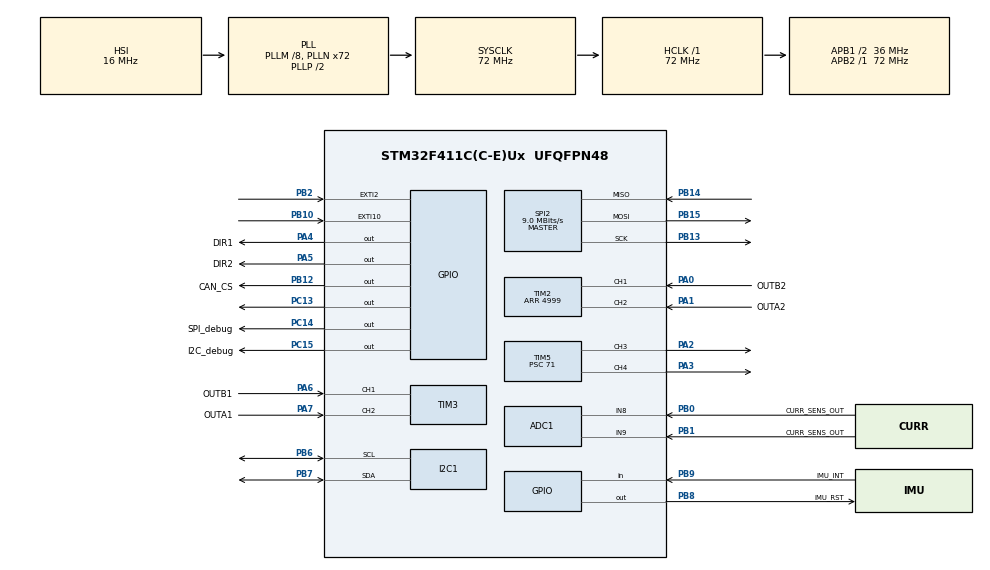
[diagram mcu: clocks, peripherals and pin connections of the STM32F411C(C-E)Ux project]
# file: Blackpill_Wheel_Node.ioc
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ADC1.Channel-0\#ChannelRegularConversion=ADC_CHANNEL_8
ADC1.Channel-1\#ChannelRegularConversion=ADC_CHANNEL_9
ADC1.ContinuousConvMode=ENABLE
ADC1.DMAContinuousRequests=ENABLE
ADC1.DiscontinuousConvMode=DISABLE
ADC1.NbrOfConversion=2
ADC1.NbrOfConversionFlag=1
ADC1.Rank-0\#ChannelRegularConversion=1
ADC1.Rank-1\#ChannelRegularConversion=2
ADC1.SamplingTime-0\#ChannelRegularConversion=ADC_SAMPLETIME_3CYCLES
ADC1.SamplingTime-1\#ChannelRegularConversion=ADC_SAMPLETIME_3CYCLES
ADC1.ScanConvMode=ENABLE
ADC1.master=1
Dma.ADC1.2.Direction=DMA_PERIPH_TO_MEMORY
Dma.ADC1.2.FIFOMode=DMA_FIFOMODE_DISABLE
Dma.ADC1.2.Instance=DMA2_Stream0
Dma.ADC1.2.MemDataAlignment=DMA_MDATAALIGN_HALFWORD
Dma.ADC1.2.MemInc=DMA_MINC_ENABLE
Dma.ADC1.2.Mode=DMA_CIRCULAR
Dma.ADC1.2.PeriphDataAlignment=DMA_PDATAALIGN_HALFWORD
Dma.ADC1.2.PeriphInc=DMA_PINC_DISABLE
Dma.ADC1.2.Priority=DMA_PRIORITY_LOW
Dma.I2C1_RX.0.Direction=DMA_PERIPH_TO_MEMORY
Dma.I2C1_RX.0.FIFOMode=DMA_FIFOMODE_DISABLE
Dma.I2C1_RX.0.Instance=DMA1_Stream0
Dma.I2C1_RX.0.MemDataAlignment=DMA_MDATAALIGN_BYTE
Dma.I2C1_RX.0.MemInc=DMA_MINC_ENABLE
Dma.I2C1_RX.0.Mode=DMA_NORMAL
Dma.I2C1_RX.0.PeriphDataAlignment=DMA_PDATAALIGN_BYTE
Dma.I2C1_RX.0.PeriphInc=DMA_PINC_DISABLE
Dma.I2C1_RX.0.Priority=DMA_PRIORITY_LOW
Dma.I2C1_TX.1.Direction=DMA_MEMORY_TO_PERIPH
Dma.I2C1_TX.1.FIFOMode=DMA_FIFOMODE_DISABLE
Dma.I2C1_TX.1.Instance=DMA1_Stream1
Dma.I2C1_TX.1.MemDataAlignment=DMA_MDATAALIGN_BYTE
Dma.I2C1_TX.1.MemInc=DMA_MINC_ENABLE
Dma.I2C1_TX.1.Mode=DMA_NORMAL
Dma.I2C1_TX.1.PeriphDataAlignment=DMA_PDATAALIGN_BYTE
Dma.I2C1_TX.1.PeriphInc=DMA_PINC_DISABLE
Dma.I2C1_TX.1.Priority=DMA_PRIORITY_LOW
Dma.Request0=I2C1_RX
Dma.Request1=I2C1_TX
Dma.Request2=ADC1
Mcu.Family=STM32F4
Mcu.Name=STM32F411C(C-E)Ux
Mcu.Package=UFQFPN48
NVIC.DMA1_Stream0_IRQn=true\:0\:0\:false\:false\:true\:false\:true\:true
NVIC.DMA1_Stream1_IRQn=true\:0\:0\:false\:false\:true\:false\:true\:true
NVIC.DMA2_Stream0_IRQn=true\:0\:0\:false\:false\:true\:false\:true\:true
NVIC.EXTI15_10_IRQn=true\:0\:0\:false\:false\:true\:true\:true\:true
NVIC.EXTI2_IRQn=true\:0\:0\:false\:false\:true\:true\:true\:true
NVIC.PriorityGroup=NVIC_PRIORITYGROUP_4
PA0-WKUP.GPIO_Label=OUTB2
PA0-WKUP.Signal=S_TIM2_CH1_ETR
PA1.GPIO_Label=OUTA2
PA1.Signal=S_TIM2_CH2
PA2.Signal=S_TIM5_CH3
PA3.Signal=S_TIM5_CH4
PA4.GPIO_Label=DIR1
PA4.Signal=GPIO_Output
PA5.GPIO_Label=DIR2
PA5.Signal=GPIO_Output
PA6.GPIO_Label=OUTB1
PA6.Signal=S_TIM3_CH1
PA7.GPIO_Label=OUTA1
PA7.Signal=S_TIM3_CH2
PB0.GPIO_Label=CURR_SENS_OUT
PB0.Signal=ADCx_IN8
PB1.GPIO_Label=CURR_SENS_OUT
PB1.Signal=ADCx_IN9
PB10.GPIO_ModeDefaultEXTI=GPIO_MODE_IT_RISING_FALLING
PB10.Signal=GPXTI10
PB12.GPIO_Label=CAN_CS
PB12.Signal=GPIO_Output
PB13.Mode=Full_Duplex_Master
PB13.Signal=SPI2_SCK
PB14.Mode=Full_Duplex_Master
PB14.Signal=SPI2_MISO
PB15.Mode=Full_Duplex_Master
PB15.Signal=SPI2_MOSI
PB2.GPIO_ModeDefaultEXTI=GPIO_MODE_IT_RISING_FALLING
PB2.Signal=GPXTI2
PB6.Mode=I2C
PB6.Signal=I2C1_SCL
PB7.Mode=I2C
PB7.Signal=I2C1_SDA
PB8.GPIO_Label=IMU_RST
PB8.Signal=GPIO_Output
PB9.GPIO_Label=IMU_INT
PB9.Signal=GPIO_Input
PC13-ANTI_TAMP.Signal=GPIO_Output
PC14-OSC32_IN.GPIO_Label=SPI_debug
PC14-OSC32_IN.Signal=GPIO_Output
PC15-OSC32_OUT.GPIO_Label=I2C_debug
PC15-OSC32_OUT.Signal=GPIO_Output
PH0\ -\ OSC_IN.Mode=HSE-External-Oscillator
PH0\ -\ OSC_IN.Signal=RCC_OSC_IN
PH1\ -\ OSC_OUT.Mode=HSE-External-Oscillator
PH1\ -\ OSC_OUT.Signal=RCC_OSC_OUT
ProjectManager.HeapSize=0x200
ProjectManager.StackSize=0x400
ProjectManager.TargetToolchain=STM32CubeIDE
RCC.48MHZClocksFreq_Value=36000000
RCC.AHBFreq_Value=72000000
RCC.APB1CLKDivider=RCC_HCLK_DIV2
RCC.APB1Freq_Value=36000000
RCC.APB1TimFreq_Value=72000000
RCC.APB2Freq_Value=72000000
RCC.APB2TimFreq_Value=72000000
RCC.CortexFreq_Value=72000000
RCC.HCLKFreq_Value=72000000
RCC.HSE_VALUE=25000000
RCC.HSI_VALUE=16000000
RCC.LSE_VALUE=32768
RCC.PLLM=8
RCC.PLLN=72
RCC.SYSCLKFreq_VALUE=72000000
RCC.SYSCLKSource=RCC_SYSCLKSOURCE_PLLCLK
RCC.VCOOutputFreq_Value=144000000
SH.ADCx_IN8.0=ADC1_IN8,IN8
SH.ADCx_IN9.0=ADC1_IN9,IN9
SH.S_TIM2_CH1_ETR.0=TIM2_CH1,Encoder_Interface
SH.S_TIM2_CH2.0=TIM2_CH2,Encoder_Interface
SH.S_TIM3_CH1.0=TIM3_CH1,Encoder_Interface
SH.S_TIM3_CH2.0=TIM3_CH2,Encoder_Interface
SH.S_TIM5_CH3.0=TIM5_CH3,PWM Generation3 CH3
SH.S_TIM5_CH4.0=TIM5_CH4,PWM Generation4 CH4
SPI2.BaudRatePrescaler=SPI_BAUDRATEPRESCALER_4
SPI2.CalculateBaudRate=9.0 MBits/s
SPI2.Direction=SPI_DIRECTION_2LINES
SPI2.Mode=SPI_MODE_MASTER
SPI2.VirtualType=VM_MASTER
TIM1.Prescaler=71
TIM2.Period=4999
TIM5.Channel-PWM\ Generation3\ CH3=TIM_CHANNEL_3
TIM5.Channel-PWM\ Generation4\ CH4=TIM_CHANNEL_4
TIM5.Period=255
TIM5.Prescaler=71
VP_TIM1_VS_ClockSourceINT.Mode=Internal
VP_TIM5_VS_ClockSourceINT.Mode=Internal
board=custom

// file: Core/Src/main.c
/* USER CODE BEGIN Header */
/**
  ******************************************************************************
  * @file           : main.c
  * @brief          : Main program body
  ******************************************************************************
  * @attention
  *
  * Copyright (c) 2026 STMicroelectronics.
  * All rights reserved.
  *
  * This software is licensed under terms that can be found in the LICENSE file
  * in the root directory of this software component.
  * If no LICENSE file comes with this software, it is provided AS-IS.
  *
  ******************************************************************************
  */
/* USER CODE END Header */
#include "main.h"

/* USER CODE BEGIN Includes */
#include "CANSPI.h"
#include "MCP2515.h"
/* USER CODE END Includes */

/* USER CODE BEGIN PD */
#define BNO_AD (0x28 << 1)
#define AS5600_AD (0x36 << 1)

#define ANGLE_REG 0x0E
#define ANGLE_REG_2 0x0F
#define AS_STATUS_REG 0x0B
#define ANG_VEL 0x14
#define BN_STATUS_REG 0x39

#define RPI 0
#define FR 1
#define FL 2
#define BR 3
#define BL 4

//#define EXPLICIT_QUAD  0b00000
//#define EXPLICIT_MAGN  0b00001
//#define EXPLICIT_IMU   0b00010
//#define EXPLICIT_ACS   0b00011
//#define DRIVE_QUAD     0b00100
//#define DRIVE_ACS      0b00101
//#define EXPLICIT_PWM   0b00110
//#define DRIVE_PWM      0b00111
//#define EXPLICIT_DIRN  0b01000
//#define DRIVE_DIRN     0b01001
//#define STATUS         0b01010
//#define HEARTBEAT      0b11111

#define MOTOR_DATA 0b00000
#define SENSOR_DATA 0b00001
#define SENSORS_CHECK 0b00011

#define HEARTBEAT 0b00010 //ritvik sends
#define HEARTBEATED 0b00110 //send back

#define EXPLICIT_PWM 0b00111
#define DRIVE_PWM 0b01000
#define START_NODE 0b10100

#define MAKE_ARBITRATION_ID(node, msg) (((node) << 5) | (msg))

#define CAN_FAIL 10000
#define LIMIT_DEBOUNCE_MS 15
#define BUSOFF_CHECK_PERIOD_MS 200

#define PWM_INTERRUPT 0b01010

/* USER CODE END PD */

ADC_HandleTypeDef hadc1;
DMA_HandleTypeDef hdma_adc1;

I2C_HandleTypeDef hi2c1;
DMA_HandleTypeDef hdma_i2c1_rx;
DMA_HandleTypeDef hdma_i2c1_tx;

SPI_HandleTypeDef hspi2;

TIM_HandleTypeDef htim1;
TIM_HandleTypeDef htim2;
TIM_HandleTypeDef htim3;
TIM_HandleTypeDef htim5;

/* USER CODE BEGIN PV */
typedef enum {
    I2C_IDLE,
    I2C_AS_STATUS,
    I2C_AS_ANGLE,
    I2C_BNO_STATUS,
    I2C_BNO_ANGVEL,
    I2C_DONE
} I2C_SeqState;

volatile I2C_SeqState i2c_state = I2C_IDLE;
uint8_t status_as, status_bn;
uint8_t angle[2], angvel[2];

uint8_t status_as_buf, status_bn_buf;
uint8_t angle_buf[2], angvel_buf[2];
volatile HAL_StatusTypeDef s1, s2, s3, s4;

uint16_t adc_buf[2];

uint16_t enc1_count;
uint16_t enc2_count;

uCAN_MSG tx_motor;
uCAN_MSG tx_sensor;
uCAN_MSG tx_sensor_check;

uCAN_MSG tx_heartbeat;
uCAN_MSG tx_pwminterrupt;

uCAN_MSG rx;

uint8_t timer = 0;
static volatile uint32_t counter = 0;
static volatile uint8_t heartbeater = 0;
static volatile uint32_t CAN_failed_counter = 0;
static uint32_t last_bussoff_check_tick = 0;
static volatile uint32_t tx_drop_count = 0;
volatile bool beat_pls = false;
volatile bool start_node = false;
volatile bool start_node_init = false;
volatile bool CAN_checker = false;

uint16_t nm[2];

//void decode_id(uint16_t arb_id){
//	uint16_t node = (arb_id >> 5) & 0b00111111;
//	uint16_t msg = arb_id & 0b00011111;
//	nm[0] = node;
//	nm[1] = msg;
//}
//
//uint16_t cast_to_arbid(uint16_t id){
// return (id & 0b11111111111);
//}

uint16_t exp_pwm_msg = MAKE_ARBITRATION_ID(FR,EXPLICIT_PWM);
uint16_t dr_pwm_msg = MAKE_ARBITRATION_ID(FR,DRIVE_PWM);
uint16_t start_node_msg = MAKE_ARBITRATION_ID(FR,START_NODE);
//
//uint16_t exp_dirn_msg = MAKE_ARBITRATION_ID(FR, EXPLICIT_DIRN);
//uint16_t dr_dirn_msg = MAKE_ARBITRATION_ID(FR, DRIVE_DIRN);
//
//uint16_t exp_acs_msg = MAKE_ARBITRATION_ID(FR,EXPLICIT_ACS);
//uint16_t dr_acs_msg = MAKE_ARBITRATION_ID(FR, DRIVE_ACS);
//
//uint16_t exp_quad_msg = MAKE_ARBITRATION_ID(FR,EXPLICIT_QUAD);
//uint16_t dr_quad_msg = MAKE_ARBITRATION_ID(FR, DRIVE_QUAD);
//
//uint16_t imu_msg = MAKE_ARBITRATION_ID(FR,EXPLICIT_IMU);
//uint16_t mag_msg = MAKE_ARBITRATION_ID(FR,EXPLICIT_MAGN);
//
//uint16_t status_msg = MAKE_ARBITRATION_ID(FR, STATUS);

uint16_t motor_msg = MAKE_ARBITRATION_ID(FR, MOTOR_DATA);
uint16_t sensor_msg = MAKE_ARBITRATION_ID(FR, SENSOR_DATA);
uint16_t sensor_check_msg = MAKE_ARBITRATION_ID(FR, SENSORS_CHECK);

uint16_t heartbeat_msg = MAKE_ARBITRATION_ID(FR, HEARTBEAT);
uint16_t heartbeated_msg = MAKE_ARBITRATION_ID(FR, HEARTBEATED);

uint16_t pwminterrupted_msg = MAKE_ARBITRATION_ID(FR,PWM_INTERRUPT);

volatile uint8_t interrupted_left = 0; //assume left has dir 0 so it goes past when pwm 0 (dir(c). Thus, dir 0 and interrupted_left must be logically 0. If if the dir is 1 then make it 1
volatile uint8_t interrupted_right = 0;// assume right has dir 1 so for dir 1 and interrupted 1 pwm 0. If dir becomes 0 then let pwm to work.
// when either of these happen cause interrupt, basically and both stuff for output (dir + intlc)*(dirc + intrc)

static volatile uint32_t last_left_edge_tick = 0;
static volatile uint32_t last_right_edge_tick = 0;
static volatile bool left_edge_pending = false;
static volatile bool right_edge_pending = false;
/* USER CODE END PV */

void SystemClock_Config(void);
static void MX_GPIO_Init(void);
static void MX_DMA_Init(void);
static void MX_ADC1_Init(void);
static void MX_I2C1_Init(void);
static void MX_SPI2_Init(void);
static void MX_TIM2_Init(void);
static void MX_TIM3_Init(void);
static void MX_TIM5_Init(void);
static void MX_TIM1_Init(void);
/* USER CODE BEGIN PFP */

void I2C1_Sequence_Start(void) {
    i2c_state = I2C_AS_STATUS;
    s1 = HAL_I2C_Mem_Read_DMA(&hi2c1, AS5600_AD, AS_STATUS_REG, I2C_MEMADD_SIZE_8BIT, &status_as_buf, 1);
}

void HAL_I2C_MemRxCpltCallback(I2C_HandleTypeDef *hi2c) {
    if (hi2c->Instance != I2C1) return;

    switch(i2c_state){
        case I2C_AS_STATUS:
            i2c_state = I2C_AS_ANGLE;
            s3 = HAL_I2C_Mem_Read_DMA(&hi2c1, AS5600_AD, ANGLE_REG, I2C_MEMADD_SIZE_8BIT, angle_buf, 2);
            break;
        case I2C_AS_ANGLE:
            i2c_state = I2C_BNO_STATUS;
            s2 = HAL_I2C_Mem_Read_DMA(&hi2c1, BNO_AD, BN_STATUS_REG, I2C_MEMADD_SIZE_8BIT, &status_bn_buf, 1);
            break;
        case I2C_BNO_STATUS:
            i2c_state = I2C_BNO_ANGVEL;
            s4 = HAL_I2C_Mem_Read_DMA(&hi2c1, BNO_AD, ANG_VEL, I2C_MEMADD_SIZE_8BIT, angvel_buf, 2);
            break;
        case I2C_BNO_ANGVEL:
            i2c_state = I2C_DONE;
            status_as = status_as_buf;
            status_bn = status_bn_buf;
            angle[0] = angle_buf[0];
            angle[1] = angle_buf[1];
            angvel[0] = angvel_buf[0];
            angvel[1] = angvel_buf[1];
            break;
        default: break;
    }
}

void CAN_Send_MotorFrame(void){
	enc1_count = (uint16_t)__HAL_TIM_GET_COUNTER(&htim3);
	enc2_count = (uint16_t)__HAL_TIM_GET_COUNTER(&htim2);

    tx_motor.frame.idType = dSTANDARD_CAN_MSG_ID_2_0B;
    tx_motor.frame.id = motor_msg;
    tx_motor.frame.dlc = 8;
    tx_motor.frame.data0 = enc1_count & 0xFF;
    tx_motor.frame.data1 = (enc1_count >> 8) & 0xFF; //explicit encoder

    tx_motor.frame.data2 = enc2_count & 0xFF;
    tx_motor.frame.data3 = (enc2_count >> 8) & 0xFF; //drive encoder

    tx_motor.frame.data4 = adc_buf[0] & 0xFF;
    tx_motor.frame.data5 = (adc_buf[0] >> 8) & 0xFF; //explicit current

    tx_motor.frame.data6 = adc_buf[1] & 0xFF;
    tx_motor.frame.data7 = (adc_buf[1] >> 8) & 0xFF; //drive current

    if (!CANSPI_Transmit(&tx_motor)) tx_drop_count++;

    tx_sensor.frame.idType = dSTANDARD_CAN_MSG_ID_2_0B;
    tx_sensor.frame.id = sensor_msg;
    tx_sensor.frame.dlc = 4;
	tx_sensor.frame.data0 = angle[0];  //LSB TO MSB
	tx_sensor.frame.data1 = angle[1];

	tx_sensor.frame.data2 = angvel[0]; //LSB TO MSB
	tx_sensor.frame.data3 = angvel[1];

	//tx_sensor.frame.data2 = status_as; //LSB TO MSG
    if (!CANSPI_Transmit(&tx_sensor)) tx_drop_count++;

//    if (beat_pls){
//		tx_heartbeat.frame.idType = dSTANDARD_CAN_MSG_ID_2_0B;
//		tx_heartbeat.frame.id = heartbeat_msg;
//		tx_heartbeat.frame.dlc = 1;
//		tx_heartbeat.frame.data0 = heartbeater;
//		beat_pls = false;
//		CANSPI_Transmit(&tx_heartbeat);
//    }

//    tx_imu.frame.idType = dSTANDARD_CAN_MSG_ID_2_0B;
//    tx_imu.frame.id = imu_msg;
//    tx_imu.frame.dlc = 2;
//	tx_imu.frame.data0 = angvel[0]; //LSB TO MSB
//	tx_imu.frame.data1 = angvel[1];
//	//tx_imu.frame.data2 = status_bn;
//    CANSPI_Transmit(&tx_imu);

//    tx_exp_acs.frame.idType = dSTANDARD_CAN_MSG_ID_2_0B;
//    tx_exp_acs.frame.id = exp_acs_msg;
//    tx_exp_acs.frame.dlc = 2;
//    tx_exp_acs.frame.data0 = adc_buf[0] & 0xFF;
//    tx_exp_acs.frame.data1 = (adc_buf[0] >> 8) & 0xFF;
//    CANSPI_Transmit(&tx_exp_acs);

//    tx_dr_acs.frame.idType = dSTANDARD_CAN_MSG_ID_2_0B;
//    tx_dr_acs.frame.id = dr_acs_msg;
//    tx_dr_acs.frame.dlc = 2;
//    tx_dr_acs.frame.data0 = adc_buf[1] & 0xFF;
//    tx_dr_acs.frame.data1 = (adc_buf[1] >> 8) & 0xFF;
//    CANSPI_Transmit(&tx_dr_acs);

//    tx_exp_quad.frame.idType = dSTANDARD_CAN_MSG_ID_2_0B;
//    tx_exp_quad.frame.id = exp_quad_msg;
//    tx_exp_quad.frame.dlc = 2;
//    tx_exp_quad.frame.data0 = enc1_count & 0xFF;
//    tx_exp_quad.frame.data1 = (enc1_count >> 8) & 0xFF;
//    CANSPI_Transmit(&tx_exp_quad);

}

void CAN_Send_SensorCheck(void){
	tx_sensor_check.frame.idType = dSTANDARD_CAN_MSG_ID_2_0B;
	tx_sensor_check.frame.id = sensor_check_msg;
	tx_sensor_check.frame.dlc = 2;
	tx_sensor_check.frame.data0 = status_as;
	tx_sensor_check.frame.data1 = status_bn;
	if (!CANSPI_Transmit(&tx_sensor_check)) tx_drop_count++;
}

void HAL_I2C_ErrorCallback(I2C_HandleTypeDef *hi2c) {
    if (hi2c->Instance != I2C1) return;
    i2c_state = I2C_DONE;   // force the main loop to retry from scratch next pass
}

//void status_check(){
//	tx_stat.frame.idType = dSTANDARD_CAN_MSG_ID_2_0B;
//	tx_stat.frame.id = status_msg;
//	tx_stat.frame.dlc = HAL_I2C_Mem_Read_DMA(&hi2c1, AS5600_AD, ANGLE_REG, I2C_MEMADD_SIZE_8BIT, angle, 2);
//	//to check what kinds of status check we need to implement, as of now its hardwired into the code
//}

//int heartbeat(int a, int b){
//	return (a+b);
//}
void decode_id(uint16_t arb_id){
	uint16_t node = (arb_id >> 5) & 0b00111111;
	uint16_t msg = arb_id & 0b00011111;
	nm[0] = node;
	nm[1] = msg;
}

void CAN_Heartbeat(void){
    if (beat_pls){
		tx_heartbeat.frame.idType = dSTANDARD_CAN_MSG_ID_2_0B;
		tx_heartbeat.frame.id = heartbeated_msg;
		tx_heartbeat.frame.dlc = 1;
		tx_heartbeat.frame.data0 = heartbeater & 0xFF;
		tx_heartbeat.frame.data1 = (heartbeater >> 8) & 0xFF;
		beat_pls = false;
		if (!CANSPI_Transmit(&tx_heartbeat)) tx_drop_count++; //for debanson i will send 2 bytes
    }
}

uint16_t cast_to_arbid(uint16_t id){
 return (id & 0b11111111111);
}

void delay_us (uint16_t us){
	__HAL_TIM_SET_COUNTER(&htim1,0);  // set the counter value a 0
	while (__HAL_TIM_GET_COUNTER(&htim1) < us);  // wait for the counter to reach the us input in the parameter
}

void CAN_PWMInterrupt(){
	tx_pwminterrupt.frame.idType = dSTANDARD_CAN_MSG_ID_2_0B;
	tx_pwminterrupt.frame.id = pwminterrupted_msg;
	tx_pwminterrupt.frame.dlc = 2;
	tx_pwminterrupt.frame.data0 = interrupted_left;
	tx_pwminterrupt.frame.data1 = interrupted_right; //LSB is left limit switch MSB is right switch
	if (!CANSPI_Transmit(&tx_pwminterrupt)) tx_drop_count++;
}
/* USER CODE END PFP */

int main(void)
{

  /* MCU Configuration--------------------------------------------------------*/

  /* Reset of all peripherals, Initializes the Flash interface and the Systick. */
  HAL_Init();

  /* Configure the system clock */
  SystemClock_Config();

  /* Initialize all configured peripherals */
  MX_GPIO_Init();
  MX_DMA_Init();
  MX_ADC1_Init();
  MX_I2C1_Init();
  MX_SPI2_Init();
  MX_TIM2_Init();
  MX_TIM3_Init();
  MX_TIM5_Init();
  MX_TIM1_Init();
  /* USER CODE BEGIN 2 */
  HAL_GPIO_WritePin(GPIOC,GPIO_PIN_13,0);
  HAL_Delay(100);
  HAL_GPIO_WritePin(GPIOC,GPIO_PIN_13,1);
  HAL_Delay(100);

  HAL_Delay(1000);
  CAN_checker = CANSPI_Initialize();
  HAL_Delay(1000);

  HAL_GPIO_WritePin(GPIOC,GPIO_PIN_13,0);
  HAL_Delay(100);
  HAL_GPIO_WritePin(GPIOC,GPIO_PIN_13,1);
  HAL_Delay(100);

  HAL_ADC_Start_DMA(&hadc1, (uint32_t*)adc_buf, 2);
  __HAL_DMA_DISABLE_IT(hadc1.DMA_Handle, DMA_IT_TC | DMA_IT_HT | DMA_IT_TE);

  uint8_t opr_mode = 0x0C;
  HAL_I2C_Mem_Write(&hi2c1, BNO_AD, 0x3D, I2C_MEMADD_SIZE_8BIT, &opr_mode, 1, 100);
  HAL_Delay(20);

  HAL_GPIO_WritePin(GPIOC,GPIO_PIN_13,0);
  HAL_Delay(100);
  HAL_GPIO_WritePin(GPIOC,GPIO_PIN_13,1);
  HAL_Delay(100);

  HAL_TIM_Base_Start(&htim1);

  HAL_TIM_PWM_Start(&htim5, TIM_CHANNEL_3);
  HAL_TIM_PWM_Start(&htim5, TIM_CHANNEL_4);

  HAL_TIM_Encoder_Start(&htim2, TIM_CHANNEL_ALL);
  HAL_TIM_Encoder_Start(&htim3, TIM_CHANNEL_ALL);

  HAL_GPIO_WritePin(GPIOA,GPIO_PIN_4,1);
  HAL_GPIO_WritePin(GPIOA,GPIO_PIN_5,1);

  __HAL_TIM_SET_COMPARE(&htim5, TIM_CHANNEL_3, 150);
  __HAL_TIM_SET_COMPARE(&htim5, TIM_CHANNEL_4, 150);

  HAL_Delay(2000);

  HAL_GPIO_WritePin(GPIOA,GPIO_PIN_4,0);
  HAL_GPIO_WritePin(GPIOA,GPIO_PIN_5,0);
  __HAL_TIM_SET_COMPARE(&htim5, TIM_CHANNEL_3, 0);
  __HAL_TIM_SET_COMPARE(&htim5, TIM_CHANNEL_4, 0);

  HAL_Delay(1000);

  last_bussoff_check_tick = HAL_GetTick();

  /* USER CODE END 2 */

  /* Infinite loop */
    while (1)
    {

    /* USER CODE BEGIN 3 */

      if (i2c_state == I2C_IDLE || i2c_state == I2C_DONE) {
    	  I2C1_Sequence_Start();
      }

      if (CAN_failed_counter>=CAN_FAIL){
    	  __HAL_TIM_SET_COMPARE(&htim5, TIM_CHANNEL_3, 0);
    	  __HAL_TIM_SET_COMPARE(&htim5, TIM_CHANNEL_4, 0);
    	  HAL_GPIO_WritePin(GPIOA,GPIO_PIN_4,0);
    	  HAL_GPIO_WritePin(GPIOA,GPIO_PIN_5,0);
    	  start_node = false;
      }

      if (HAL_GetTick() - last_bussoff_check_tick >= BUSOFF_CHECK_PERIOD_MS){
    	  last_bussoff_check_tick = HAL_GetTick();
    	  if (CANSPI_isBussOff()){
    		  CAN_checker = CANSPI_Initialize();
    	  }
      }

//      if (!start_node){
//    	  HAL_Delay(500);
//    	  HAL_GPIO_WritePin(GPIOC,GPIO_PIN_13,0);
//    	  HAL_Delay(100);
//    	  HAL_GPIO_WritePin(GPIOC,GPIO_PIN_13,1);
//    	  HAL_Delay(100);
//    	  while(!CANSPI_Receive(&rx)){}
//    	  if (rx.frame.id == start_node_msg){
//    		  HAL_GPIO_WritePin(GPIOC,GPIO_PIN_13,0);
//    		  HAL_Delay(100);
//    		  HAL_GPIO_WritePin(GPIOC,GPIO_PIN_13,1);
//    		  HAL_Delay(100);
//    		  start_node = true;
//    		  start_node_init = true;
//    		  delay_us(50);
//    	  }
//    	  else if (rx.frame.id == sensor_check_msg){
//    		  CAN_Send_SensorCheck();
//    	  }
//    	  else if (start_node_init){
//    		  start_node = true;
//    	  }
//      }

  	  if(timer==10){
  		  timer = 0;
  		  CAN_Send_MotorFrame();
  	  }
  	  if (counter==1000){
  		  HAL_GPIO_TogglePin(GPIOC,GPIO_PIN_13);
  		  counter = 0;
  	  }

  	  if (left_edge_pending && (HAL_GetTick() - last_left_edge_tick >= LIMIT_DEBOUNCE_MS)){
  		  left_edge_pending = false;
  		  CAN_PWMInterrupt();
  	  }
  	  if (right_edge_pending && (HAL_GetTick() - last_right_edge_tick >= LIMIT_DEBOUNCE_MS)){
  		  right_edge_pending = false;
  		  CAN_PWMInterrupt();
  	  }

  	  if (s1 == HAL_OK && s2 == HAL_OK && s3 == HAL_OK && s4 == HAL_OK){
  	      HAL_GPIO_WritePin(GPIOC, GPIO_PIN_15, 1); // I2C_debug
  	  }
  	  if (CAN_checker){
  	      HAL_GPIO_WritePin(GPIOC, GPIO_PIN_14, 1); // SPI_debug
  	  }

  	  if (CANSPI_Receive(&rx)){
  		  //getting pwm as 1st dir and 2nd pwm
  		  CAN_failed_counter=0;
  	      if (rx.frame.id == exp_pwm_msg){
  	          uint16_t pwm_exp = rx.frame.data1;
  	          uint8_t dir = rx.frame.data0;
  	          uint8_t blocked = (dir == 0) ? interrupted_left : interrupted_right;
  	          HAL_GPIO_WritePin(GPIOA,GPIO_PIN_4,dir);
  	          __HAL_TIM_SET_COMPARE(&htim5, TIM_CHANNEL_3, blocked ? 0 : pwm_exp);
  	      }
  	  	  else if (rx.frame.id == dr_pwm_msg){
  	          uint16_t pwm_dr = rx.frame.data1;
  	          uint8_t dir = rx.frame.data0;
  	          uint8_t blocked = (dir == 0) ? interrupted_left : interrupted_right;
  	          HAL_GPIO_WritePin(GPIOA,GPIO_PIN_5,dir);
  	          __HAL_TIM_SET_COMPARE(&htim5, TIM_CHANNEL_4, blocked ? 0 : pwm_dr);
  	      }
  	  	  else if (rx.frame.id == heartbeat_msg){
  	  		  heartbeater = rx.frame.data0 + rx.frame.data1;
  	  		  beat_pls = true;
  	  		  CAN_Heartbeat();
  	  	  }
  	  }

  	  timer++;
  	  counter++;
  	  CAN_failed_counter++;
  	  delay_us(100);
    }
  /* USER CODE END 3 */
}

void HAL_GPIO_EXTI_Callback(uint16_t GPIO_Pin){
	if (GPIO_Pin==GPIO_PIN_2){
		interrupted_left = (HAL_GPIO_ReadPin(GPIOB, GPIO_PIN_2) == GPIO_PIN_SET) ? 1 : 0;
		last_left_edge_tick = HAL_GetTick();
		left_edge_pending = true;
	}
	else if(GPIO_Pin==GPIO_PIN_10){
		interrupted_right = (HAL_GPIO_ReadPin(GPIOB, GPIO_PIN_10) == GPIO_PIN_SET) ? 1 : 0;
		last_right_edge_tick = HAL_GetTick();
		right_edge_pending = true;
	}
}
void SystemClock_Config(void)
{
  RCC_OscInitTypeDef RCC_OscInitStruct = {0};
  RCC_ClkInitTypeDef RCC_ClkInitStruct = {0};

  /** Configure the main internal regulator output voltage
  */
  __HAL_RCC_PWR_CLK_ENABLE();
  __HAL_PWR_VOLTAGESCALING_CONFIG(PWR_REGULATOR_VOLTAGE_SCALE1);

  /** Initializes the RCC Oscillators according to the specified parameters
  * in the RCC_OscInitTypeDef structure.
  */
  RCC_OscInitStruct.OscillatorType = RCC_OSCILLATORTYPE_HSI;
  RCC_OscInitStruct.HSIState = RCC_HSI_ON;
  RCC_OscInitStruct.HSICalibrationValue = RCC_HSICALIBRATION_DEFAULT;
  RCC_OscInitStruct.PLL.PLLState = RCC_PLL_ON;
  RCC_OscInitStruct.PLL.PLLSource = RCC_PLLSOURCE_HSI;
  RCC_OscInitStruct.PLL.PLLM = 8;
  RCC_OscInitStruct.PLL.PLLN = 72;
  RCC_OscInitStruct.PLL.PLLP = RCC_PLLP_DIV2;
  RCC_OscInitStruct.PLL.PLLQ = 4;
  if (HAL_RCC_OscConfig(&RCC_OscInitStruct) != HAL_OK)
  {
    Error_Handler();
  }

  /** Initializes the CPU, AHB and APB buses clocks
  */
  RCC_ClkInitStruct.ClockType = RCC_CLOCKTYPE_HCLK|RCC_CLOCKTYPE_SYSCLK
                              |RCC_CLOCKTYPE_PCLK1|RCC_CLOCKTYPE_PCLK2;
  RCC_ClkInitStruct.SYSCLKSource = RCC_SYSCLKSOURCE_PLLCLK;
  RCC_ClkInitStruct.AHBCLKDivider = RCC_SYSCLK_DIV1;
  RCC_ClkInitStruct.APB1CLKDivider = RCC_HCLK_DIV2;
  RCC_ClkInitStruct.APB2CLKDivider = RCC_HCLK_DIV1;

  if (HAL_RCC_ClockConfig(&RCC_ClkInitStruct, FLASH_LATENCY_2) != HAL_OK)
  {
    Error_Handler();
  }
}

static void MX_ADC1_Init(void)
{

  ADC_ChannelConfTypeDef sConfig = {0};

  /** Configure the global features of the ADC (Clock, Resolution, Data Alignment and number of conversion)
  */
  hadc1.Instance = ADC1;
  hadc1.Init.ClockPrescaler = ADC_CLOCK_SYNC_PCLK_DIV2;
  hadc1.Init.Resolution = ADC_RESOLUTION_12B;
  hadc1.Init.ScanConvMode = ENABLE;
  hadc1.Init.ContinuousConvMode = ENABLE;
  hadc1.Init.DiscontinuousConvMode = DISABLE;
  hadc1.Init.ExternalTrigConvEdge = ADC_EXTERNALTRIGCONVEDGE_NONE;
  hadc1.Init.ExternalTrigConv = ADC_SOFTWARE_START;
  hadc1.Init.DataAlign = ADC_DATAALIGN_RIGHT;
  hadc1.Init.NbrOfConversion = 2;
  hadc1.Init.DMAContinuousRequests = ENABLE;
  hadc1.Init.EOCSelection = ADC_EOC_SINGLE_CONV;
  if (HAL_ADC_Init(&hadc1) != HAL_OK)
  {
    Error_Handler();
  }

  /** Configure for the selected ADC regular channel its corresponding rank in the sequencer and its sample time.
  */
  sConfig.Channel = ADC_CHANNEL_8;
  sConfig.Rank = 1;
  sConfig.SamplingTime = ADC_SAMPLETIME_3CYCLES;
  if (HAL_ADC_ConfigChannel(&hadc1, &sConfig) != HAL_OK)
  {
    Error_Handler();
  }

  /** Configure for the selected ADC regular channel its corresponding rank in the sequencer and its sample time.
  */
  sConfig.Channel = ADC_CHANNEL_9;
  sConfig.Rank = 2;
  if (HAL_ADC_ConfigChannel(&hadc1, &sConfig) != HAL_OK)
  {
    Error_Handler();
  }

}

static void MX_I2C1_Init(void)
{

  hi2c1.Instance = I2C1;
  hi2c1.Init.ClockSpeed = 100000;
  hi2c1.Init.DutyCycle = I2C_DUTYCYCLE_2;
  hi2c1.Init.OwnAddress1 = 0;
  hi2c1.Init.AddressingMode = I2C_ADDRESSINGMODE_7BIT;
  hi2c1.Init.DualAddressMode = I2C_DUALADDRESS_DISABLE;
  hi2c1.Init.OwnAddress2 = 0;
  hi2c1.Init.GeneralCallMode = I2C_GENERALCALL_DISABLE;
  hi2c1.Init.NoStretchMode = I2C_NOSTRETCH_DISABLE;
  if (HAL_I2C_Init(&hi2c1) != HAL_OK)
  {
    Error_Handler();
  }

}

static void MX_SPI2_Init(void)
{

  /* SPI2 parameter configuration*/
  hspi2.Instance = SPI2;
  hspi2.Init.Mode = SPI_MODE_MASTER;
  hspi2.Init.Direction = SPI_DIRECTION_2LINES;
  hspi2.Init.DataSize = SPI_DATASIZE_8BIT;
  hspi2.Init.CLKPolarity = SPI_POLARITY_LOW;
  hspi2.Init.CLKPhase = SPI_PHASE_1EDGE;
  hspi2.Init.NSS = SPI_NSS_SOFT;
  hspi2.Init.BaudRatePrescaler = SPI_BAUDRATEPRESCALER_4;
  hspi2.Init.FirstBit = SPI_FIRSTBIT_MSB;
  hspi2.Init.TIMode = SPI_TIMODE_DISABLE;
  hspi2.Init.CRCCalculation = SPI_CRCCALCULATION_DISABLE;
  hspi2.Init.CRCPolynomial = 10;
  if (HAL_SPI_Init(&hspi2) != HAL_OK)
  {
    Error_Handler();
  }

}

static void MX_TIM1_Init(void)
{

  TIM_ClockConfigTypeDef sClockSourceConfig = {0};
  TIM_MasterConfigTypeDef sMasterConfig = {0};

  htim1.Instance = TIM1;
  htim1.Init.Prescaler = 71;
  htim1.Init.CounterMode = TIM_COUNTERMODE_UP;
  htim1.Init.Period = 65535;
  htim1.Init.ClockDivision = TIM_CLOCKDIVISION_DIV1;
  htim1.Init.RepetitionCounter = 0;
  htim1.Init.AutoReloadPreload = TIM_AUTORELOAD_PRELOAD_DISABLE;
  if (HAL_TIM_Base_Init(&htim1) != HAL_OK)
  {
    Error_Handler();
  }
  sClockSourceConfig.ClockSource = TIM_CLOCKSOURCE_INTERNAL;
  if (HAL_TIM_ConfigClockSource(&htim1, &sClockSourceConfig) != HAL_OK)
  {
    Error_Handler();
  }
  sMasterConfig.MasterOutputTrigger = TIM_TRGO_RESET;
  sMasterConfig.MasterSlaveMode = TIM_MASTERSLAVEMODE_DISABLE;
  if (HAL_TIMEx_MasterConfigSynchronization(&htim1, &sMasterConfig) != HAL_OK)
  {
    Error_Handler();
  }

}

static void MX_TIM2_Init(void)
{

  TIM_Encoder_InitTypeDef sConfig = {0};
  TIM_MasterConfigTypeDef sMasterConfig = {0};

  htim2.Instance = TIM2;
  htim2.Init.Prescaler = 0;
  htim2.Init.CounterMode = TIM_COUNTERMODE_UP;
  htim2.Init.Period = 4999;
  htim2.Init.ClockDivision = TIM_CLOCKDIVISION_DIV1;
  htim2.Init.AutoReloadPreload = TIM_AUTORELOAD_PRELOAD_DISABLE;
  sConfig.EncoderMode = TIM_ENCODERMODE_TI1;
  sConfig.IC1Polarity = TIM_ICPOLARITY_RISING;
  sConfig.IC1Selection = TIM_ICSELECTION_DIRECTTI;
  sConfig.IC1Prescaler = TIM_ICPSC_DIV1;
  sConfig.IC1Filter = 0;
  sConfig.IC2Polarity = TIM_ICPOLARITY_RISING;
  sConfig.IC2Selection = TIM_ICSELECTION_DIRECTTI;
  sConfig.IC2Prescaler = TIM_ICPSC_DIV1;
  sConfig.IC2Filter = 0;
  if (HAL_TIM_Encoder_Init(&htim2, &sConfig) != HAL_OK)
  {
    Error_Handler();
  }
  sMasterConfig.MasterOutputTrigger = TIM_TRGO_RESET;
  sMasterConfig.MasterSlaveMode = TIM_MASTERSLAVEMODE_DISABLE;
  if (HAL_TIMEx_MasterConfigSynchronization(&htim2, &sMasterConfig) != HAL_OK)
  {
    Error_Handler();
  }

}

static void MX_TIM3_Init(void)
{

  TIM_Encoder_InitTypeDef sConfig = {0};
  TIM_MasterConfigTypeDef sMasterConfig = {0};

  htim3.Instance = TIM3;
  htim3.Init.Prescaler = 0;
  htim3.Init.CounterMode = TIM_COUNTERMODE_UP;
  htim3.Init.Period = 65535;
  htim3.Init.ClockDivision = TIM_CLOCKDIVISION_DIV1;
  htim3.Init.AutoReloadPreload = TIM_AUTORELOAD_PRELOAD_DISABLE;
  sConfig.EncoderMode = TIM_ENCODERMODE_TI1;
  sConfig.IC1Polarity = TIM_ICPOLARITY_RISING;
  sConfig.IC1Selection = TIM_ICSELECTION_DIRECTTI;
  sConfig.IC1Prescaler = TIM_ICPSC_DIV1;
  sConfig.IC1Filter = 0;
  sConfig.IC2Polarity = TIM_ICPOLARITY_RISING;
  sConfig.IC2Selection = TIM_ICSELECTION_DIRECTTI;
  sConfig.IC2Prescaler = TIM_ICPSC_DIV1;
  sConfig.IC2Filter = 0;
  if (HAL_TIM_Encoder_Init(&htim3, &sConfig) != HAL_OK)
  {
    Error_Handler();
  }
  sMasterConfig.MasterOutputTrigger = TIM_TRGO_RESET;
  sMasterConfig.MasterSlaveMode = TIM_MASTERSLAVEMODE_DISABLE;
  if (HAL_TIMEx_MasterConfigSynchronization(&htim3, &sMasterConfig) != HAL_OK)
  {
    Error_Handler();
  }

}

static void MX_TIM5_Init(void)
{

  TIM_ClockConfigTypeDef sClockSourceConfig = {0};
  TIM_MasterConfigTypeDef sMasterConfig = {0};
  TIM_OC_InitTypeDef sConfigOC = {0};

  htim5.Instance = TIM5;
  htim5.Init.Prescaler = 71;
  htim5.Init.CounterMode = TIM_COUNTERMODE_UP;
  htim5.Init.Period = 255;
  htim5.Init.ClockDivision = TIM_CLOCKDIVISION_DIV1;
  htim5.Init.AutoReloadPreload = TIM_AUTORELOAD_PRELOAD_DISABLE;
  if (HAL_TIM_Base_Init(&htim5) != HAL_OK)
  {
    Error_Handler();
  }
  sClockSourceConfig.ClockSource = TIM_CLOCKSOURCE_INTERNAL;
  if (HAL_TIM_ConfigClockSource(&htim5, &sClockSourceConfig) != HAL_OK)
  {
    Error_Handler();
  }
  if (HAL_TIM_PWM_Init(&htim5) != HAL_OK)
  {
    Error_Handler();
  }
  sMasterConfig.MasterOutputTrigger = TIM_TRGO_RESET;
  sMasterConfig.MasterSlaveMode = TIM_MASTERSLAVEMODE_DISABLE;
  if (HAL_TIMEx_MasterConfigSynchronization(&htim5, &sMasterConfig) != HAL_OK)
  {
    Error_Handler();
  }
  sConfigOC.OCMode = TIM_OCMODE_PWM1;
  sConfigOC.Pulse = 0;
  sConfigOC.OCPolarity = TIM_OCPOLARITY_HIGH;
  sConfigOC.OCFastMode = TIM_OCFAST_DISABLE;
  if (HAL_TIM_PWM_ConfigChannel(&htim5, &sConfigOC, TIM_CHANNEL_3) != HAL_OK)
  {
    Error_Handler();
  }
  if (HAL_TIM_PWM_ConfigChannel(&htim5, &sConfigOC, TIM_CHANNEL_4) != HAL_OK)
  {
    Error_Handler();
  }
  HAL_TIM_MspPostInit(&htim5);

}

static void MX_DMA_Init(void)
{

  /* DMA controller clock enable */
  __HAL_RCC_DMA1_CLK_ENABLE();
  __HAL_RCC_DMA2_CLK_ENABLE();

  /* DMA interrupt init */
  /* DMA1_Stream0_IRQn interrupt configuration */
  HAL_NVIC_SetPriority(DMA1_Stream0_IRQn, 0, 0);
  HAL_NVIC_EnableIRQ(DMA1_Stream0_IRQn);
  /* DMA1_Stream1_IRQn interrupt configuration */
  HAL_NVIC_SetPriority(DMA1_Stream1_IRQn, 0, 0);
  HAL_NVIC_EnableIRQ(DMA1_Stream1_IRQn);
  /* DMA2_Stream0_IRQn interrupt configuration */
  HAL_NVIC_SetPriority(DMA2_Stream0_IRQn, 0, 0);
  HAL_NVIC_EnableIRQ(DMA2_Stream0_IRQn);

}

static void MX_GPIO_Init(void)
{
  GPIO_InitTypeDef GPIO_InitStruct = {0};

  /* GPIO Ports Clock Enable */
  __HAL_RCC_GPIOC_CLK_ENABLE();
  __HAL_RCC_GPIOH_CLK_ENABLE();
  __HAL_RCC_GPIOA_CLK_ENABLE();
  __HAL_RCC_GPIOB_CLK_ENABLE();

  /*Configure GPIO pin Output Level */
  HAL_GPIO_WritePin(GPIOC, GPIO_PIN_13|SPI_debug_Pin|I2C_debug_Pin, GPIO_PIN_RESET);

  /*Configure GPIO pin Output Level */
  HAL_GPIO_WritePin(GPIOA, DIR1_Pin|DIR2_Pin, GPIO_PIN_RESET);

  /*Configure GPIO pin Output Level */
  HAL_GPIO_WritePin(GPIOB, CAN_CS_Pin|IMU_RST_Pin, GPIO_PIN_RESET);

  /*Configure GPIO pins : PC13 SPI_debug_Pin I2C_debug_Pin */
  GPIO_InitStruct.Pin = GPIO_PIN_13|SPI_debug_Pin|I2C_debug_Pin;
  GPIO_InitStruct.Mode = GPIO_MODE_OUTPUT_PP;
  GPIO_InitStruct.Pull = GPIO_NOPULL;
  GPIO_InitStruct.Speed = GPIO_SPEED_FREQ_LOW;
  HAL_GPIO_Init(GPIOC, &GPIO_InitStruct);

  /*Configure GPIO pins : DIR1_Pin DIR2_Pin */
  GPIO_InitStruct.Pin = DIR1_Pin|DIR2_Pin;
  GPIO_InitStruct.Mode = GPIO_MODE_OUTPUT_PP;
  GPIO_InitStruct.Pull = GPIO_NOPULL;
  GPIO_InitStruct.Speed = GPIO_SPEED_FREQ_LOW;
  HAL_GPIO_Init(GPIOA, &GPIO_InitStruct);

  /*Configure GPIO pins : PB2 PB10 */
  GPIO_InitStruct.Pin = GPIO_PIN_2|GPIO_PIN_10;
  GPIO_InitStruct.Mode = GPIO_MODE_IT_RISING_FALLING;
  GPIO_InitStruct.Pull = GPIO_NOPULL;
  HAL_GPIO_Init(GPIOB, &GPIO_InitStruct);

  /*Configure GPIO pins : CAN_CS_Pin IMU_RST_Pin */
  GPIO_InitStruct.Pin = CAN_CS_Pin|IMU_RST_Pin;
  GPIO_InitStruct.Mode = GPIO_MODE_OUTPUT_PP;
  GPIO_InitStruct.Pull = GPIO_NOPULL;
  GPIO_InitStruct.Speed = GPIO_SPEED_FREQ_LOW;
  HAL_GPIO_Init(GPIOB, &GPIO_InitStruct);

  /*Configure GPIO pin : IMU_INT_Pin */
  GPIO_InitStruct.Pin = IMU_INT_Pin;
  GPIO_InitStruct.Mode = GPIO_MODE_INPUT;
  GPIO_InitStruct.Pull = GPIO_NOPULL;
  HAL_GPIO_Init(IMU_INT_GPIO_Port, &GPIO_InitStruct);

  /* EXTI interrupt init*/
  HAL_NVIC_SetPriority(EXTI2_IRQn, 0, 0);
  HAL_NVIC_EnableIRQ(EXTI2_IRQn);

  HAL_NVIC_SetPriority(EXTI15_10_IRQn, 0, 0);
  HAL_NVIC_EnableIRQ(EXTI15_10_IRQn);

}

void Error_Handler(void)
{
  __disable_irq();
  while (1)
  {
  }
}
